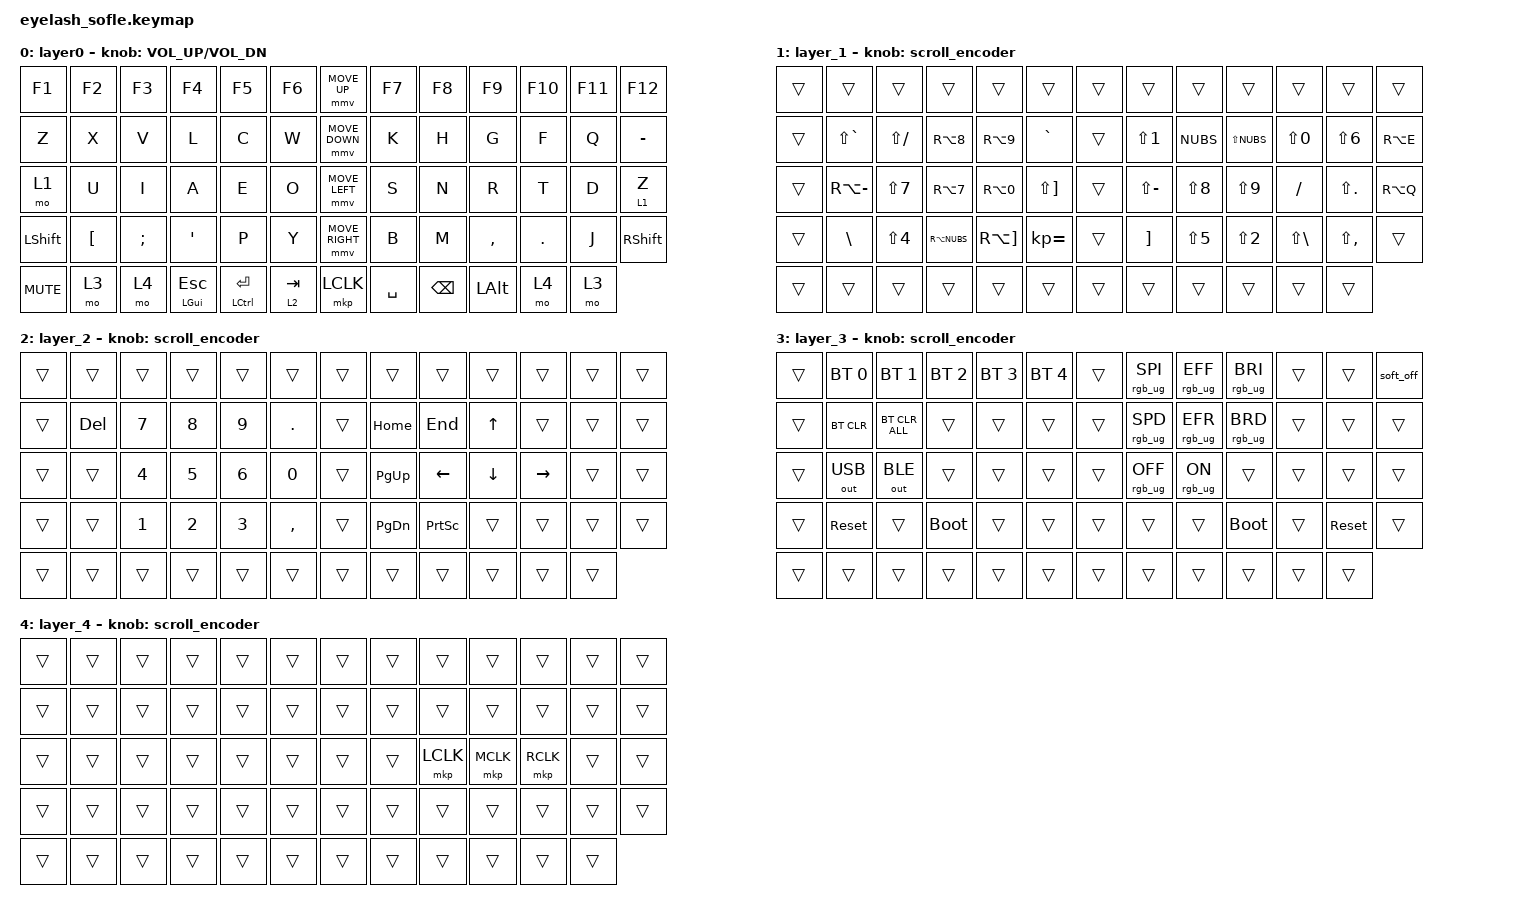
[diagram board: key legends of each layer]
#define ZMK_POINTING_DEFAULT_MOVE_VAL 1200  // 600
#define ZMK_POINTING_DEFAULT_SCRL_VAL 25   // 10

#include <input/processors.dtsi>
#include <zephyr/dt-bindings/input/input-event-codes.h>
#include <behaviors.dtsi>
#include <dt-bindings/zmk/bt.h>
#include <dt-bindings/zmk/ext_power.h>
#include <dt-bindings/zmk/keys.h>
#include <dt-bindings/zmk/pointing.h>
#include <dt-bindings/zmk/rgb.h>
#include <dt-bindings/zmk/outputs.h>

&mmv_input_listener { input-processors = <&zip_xy_scaler 2 1>; };

&msc_input_listener { input-processors = <&zip_scroll_scaler 2 1>; };

&msc {
    acceleration-exponent = <1>;      // 0
    time-to-max-speed-ms = <100>;       // 300
    delay-ms = <0>;                   // 0
};

&mmv {
    time-to-max-speed-ms = <500>;
    acceleration-exponent = <1>;
    trigger-period-ms = <16>;
};

&mt {
    tapping-term-ms = <400>;
};

&lt {
    tapping-term-ms = <200>;
};


/ {

    scroll_encoder: scroll_encoder {
        compatible = "zmk,behavior-sensor-rotate";
        #sensor-binding-cells = <0>;
        bindings = <&msc SCRL_DOWN>, <&msc SCRL_UP>;
        tap-ms = <100>;
    };

    keymap {
        compatible = "zmk,keymap";

        layer0 {
            bindings = <
&kp F1        &kp F2        &kp F3          &kp F4        &kp F5           &kp F6      &mmv MOVE_UP     &kp F7     &kp F8     &kp F9     &kp F10          &kp F11     &kp F12
&kp Z         &kp X         &kp V           &kp L         &kp C            &kp W       &mmv MOVE_DOWN   &kp K      &kp H      &kp G      &kp F            &kp Q       &kp MINUS
&mo 1         &kp U         &kp I           &kp A         &kp E            &kp O       &mmv MOVE_LEFT   &kp S      &kp N      &kp R      &kp T            &kp D       &lt 1 Z
&kp LSHFT     &kp LBKT      &kp SEMICOLON   &kp SQT       &kp P            &kp Y       &mmv MOVE_RIGHT  &kp B      &kp M      &kp COMMA  &kp DOT          &kp J       &kp RSHFT
&kp C_MUTE    &mo 3         &mo 4           &mt LGUI ESC  &mt LCTRL ENTER  &lt 2 TAB   &mkp LCLK        &kp SPACE  &kp BSPC   &kp LALT   &mo 4            &mo 3
            >;

            sensor-bindings = <&inc_dec_kp C_VOLUME_UP C_VOL_DN>;
        };


        layer_1 {
            bindings = <
&trans      &trans          &trans          &trans          &trans          &trans          &trans  &trans          &trans      &trans          &trans          &trans          &trans
&trans      &kp LS(GRAVE)   &kp LS(FSLH)    &kp RA(N8)      &kp RA(N9)      &kp GRAVE       &trans  &kp LS(N1)      &kp NUBS    &kp LS(NUBS)    &kp LS(N0)      &kp LS(N6)      &kp RA(E)
&trans      &kp RA(MINUS)   &kp LS(N7)      &kp RA(N7)      &kp RA(N0)      &kp LS(RBKT)    &trans  &kp LS(MINUS)   &kp LS(N8)  &kp LS(N9)      &kp FSLH        &kp LS(DOT)     &kp RA(Q)
&trans      &kp BSLH        &kp LS(N4)      &kp RA(NUBS)    &kp RA(RBKT)    &kp KP_EQUAL    &trans  &kp RBKT        &kp LS(N5)  &kp LS(N2)      &kp LS(BSLH)    &kp LS(COMMA)   &trans
&trans      &trans          &trans          &trans          &trans          &trans          &trans  &trans          &trans      &trans          &trans          &trans
            >;

            sensor-bindings = <&scroll_encoder>;
        };


        layer_2 {
            bindings = <
&trans      &trans          &trans          &trans          &trans           &trans         &trans     &trans       &trans      &trans      &trans     &trans   &trans
&trans      &kp DELETE      &kp N7          &kp N8          &kp N9           &kp DOT        &trans     &kp HOME     &kp END     &kp UP      &trans     &trans   &trans
&trans      &trans          &kp N4          &kp N5          &kp N6           &kp N0         &trans     &kp PG_UP    &kp LEFT    &kp DOWN    &kp RIGHT  &trans   &trans
&trans      &trans          &kp N1          &kp N2          &kp N3           &kp COMMA      &trans     &kp PG_DN    &kp PSCRN   &trans      &trans     &trans   &trans
&trans      &trans          &trans          &trans          &trans           &trans         &trans     &trans       &trans      &trans      &trans     &trans
            >;

            sensor-bindings = <&scroll_encoder>;
        };


        layer_3 {
            bindings = <
&trans      &bt BT_SEL 0  &bt BT_SEL 1    &bt BT_SEL 2  &bt BT_SEL 3  &bt BT_SEL 4    &trans        &rgb_ug RGB_SPI     &rgb_ug RGB_EFF &rgb_ug RGB_BRI      &trans      &trans      &soft_off
&trans      &bt BT_CLR    &bt BT_CLR_ALL  &trans        &trans        &trans          &trans        &rgb_ug RGB_SPD     &rgb_ug RGB_EFR &rgb_ug RGB_BRD      &trans      &trans      &trans
&trans      &out OUT_USB  &out OUT_BLE    &trans        &trans        &trans          &trans        &rgb_ug RGB_OFF     &rgb_ug RGB_ON  &trans               &trans      &trans      &trans
&trans      &sys_reset    &trans          &bootloader   &trans        &trans          &trans        &trans              &trans          &bootloader          &trans      &sys_reset  &trans
&trans      &trans        &trans          &trans        &trans        &trans          &trans        &trans              &trans          &trans               &trans      &trans
            >;

            sensor-bindings = <&scroll_encoder>;
        };


        layer_4 {
            bindings = <
&trans  &trans  &trans  &trans  &trans  &trans    &trans    &trans  &trans      &trans      &trans      &trans  &trans
&trans  &trans  &trans  &trans  &trans  &trans    &trans    &trans  &trans      &trans      &trans      &trans  &trans
&trans  &trans  &trans  &trans  &trans  &trans    &trans    &trans  &mkp LCLK   &mkp MCLK   &mkp RCLK   &trans  &trans
&trans  &trans  &trans  &trans  &trans  &trans    &trans    &trans  &trans      &trans      &trans       &trans  &trans
&trans  &trans  &trans  &trans  &trans  &trans    &trans    &trans  &trans      &trans      &trans      &trans
            >;

            sensor-bindings = <&scroll_encoder>;
        };
    };
};
